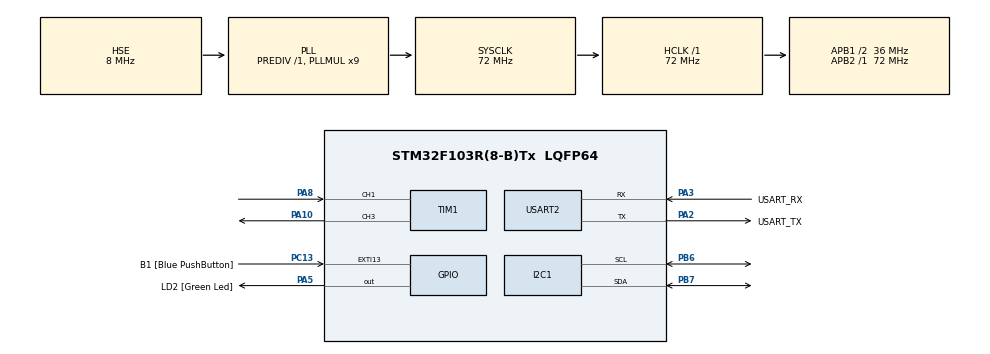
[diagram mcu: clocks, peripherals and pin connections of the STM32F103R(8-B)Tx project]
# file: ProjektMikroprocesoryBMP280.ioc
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Mcu.Family=STM32F1
Mcu.Name=STM32F103R(8-B)Tx
Mcu.Package=LQFP64
NVIC.EXTI15_10_IRQn=true\:0\:0\:false\:false\:true\:true\:true\:true
NVIC.PriorityGroup=NVIC_PRIORITYGROUP_4
NVIC.USART2_IRQn=true\:0\:0\:false\:false\:true\:true\:true\:true
PA10.Signal=S_TIM1_CH3
PA13.GPIO_Label=TMS
PA13.Mode=Serial_Wire
PA13.Signal=SYS_JTMS-SWDIO
PA14.GPIO_Label=TCK
PA14.Mode=Serial_Wire
PA14.Signal=SYS_JTCK-SWCLK
PA2.GPIO_Label=USART_TX
PA2.GPIO_Mode=GPIO_MODE_AF_PP
PA2.GPIO_PuPd=GPIO_NOPULL
PA2.GPIO_Speed=GPIO_SPEED_FREQ_LOW
PA2.Mode=Asynchronous
PA2.Signal=USART2_TX
PA3.GPIO_Label=USART_RX
PA3.GPIO_Mode=GPIO_MODE_AF_PP
PA3.GPIO_PuPd=GPIO_NOPULL
PA3.GPIO_Speed=GPIO_SPEED_FREQ_LOW
PA3.Mode=Asynchronous
PA3.Signal=USART2_RX
PA5.GPIO_Label=LD2 [Green Led]
PA5.GPIO_ModeDefaultOutputPP=GPIO_MODE_OUTPUT_PP
PA5.GPIO_PuPd=GPIO_NOPULL
PA5.GPIO_Speed=GPIO_SPEED_FREQ_LOW
PA5.Signal=GPIO_Output
PA8.Signal=S_TIM1_CH1
PB3.GPIO_Label=SWO
PB3.Signal=SYS_JTDO-TRACESWO
PB6.Mode=I2C
PB6.Signal=I2C1_SCL
PB7.Mode=I2C
PB7.Signal=I2C1_SDA
PC13-TAMPER-RTC.GPIO_Label=B1 [Blue PushButton]
PC13-TAMPER-RTC.GPIO_PuPd=GPIO_NOPULL
PC13-TAMPER-RTC.Signal=GPXTI13
PC14-OSC32_IN.Mode=LSE-External-Oscillator
PC14-OSC32_IN.Signal=RCC_OSC32_IN
PC15-OSC32_OUT.Mode=LSE-External-Oscillator
PC15-OSC32_OUT.Signal=RCC_OSC32_OUT
PD0-OSC_IN.Mode=HSE-External-Clock-Source
PD0-OSC_IN.Signal=RCC_OSC_IN
PD1-OSC_OUT.Mode=HSE-External-Clock-Source
PD1-OSC_OUT.Signal=RCC_OSC_OUT
ProjectManager.HeapSize=0x200
ProjectManager.StackSize=0x400
ProjectManager.TargetToolchain=STM32CubeIDE
RCC.AHBFreq_Value=72000000
RCC.APB1CLKDivider=RCC_HCLK_DIV2
RCC.APB1Freq_Value=36000000
RCC.APB1TimFreq_Value=72000000
RCC.APB2Freq_Value=72000000
RCC.APB2TimFreq_Value=72000000
RCC.HCLKFreq_Value=72000000
RCC.PLLMUL=RCC_PLL_MUL9
RCC.PLLSourceVirtual=RCC_PLLSOURCE_HSE
RCC.RTCClockSelection=RCC_RTCCLKSOURCE_LSE
RCC.SYSCLKFreq_VALUE=72000000
RCC.SYSCLKSource=RCC_SYSCLKSOURCE_PLLCLK
RCC.USBFreq_Value=72000000
SH.S_TIM1_CH1.0=TIM1_CH1,Input_Capture1_from_TI1
SH.S_TIM1_CH3.0=TIM1_CH3,PWM Generation3 CH3
TIM1.Channel-Input_Capture1_from_TI1=TIM_CHANNEL_1
TIM1.Channel-PWM\ Generation3\ CH3=TIM_CHANNEL_3
USART2.VirtualMode=VM_ASYNC
VP_TIM1_VS_ClockSourceINT.Mode=Internal
board=NUCLEO-F103RB

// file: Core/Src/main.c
/* USER CODE BEGIN Header */
/**
  ******************************************************************************
  * @file           : main.c
  * @brief          : Main program body
  ******************************************************************************
  * @attention
  *
  * Copyright (c) 2022 STMicroelectronics.
  * All rights reserved.
  *
  * This software is licensed under terms that can be found in the LICENSE file
  * in the root directory of this software component.
  * If no LICENSE file comes with this software, it is provided AS-IS.
  *
  ******************************************************************************
  */
/* USER CODE END Header */
#include "main.h"

/* USER CODE BEGIN Includes */
#include <string.h>
#include <stdio.h>
#include <stdarg.h>
#include <bme280.h>
/* USER CODE END Includes */

I2C_HandleTypeDef hi2c1;

TIM_HandleTypeDef htim1;

UART_HandleTypeDef huart2;

/* USER CODE BEGIN PV */

//zmienne do obsługi protokołu
#define USART_TXBUF_LEN 300
#define USART_RXBUF_LEN 300
#define bufor_len 1000
uint8_t USART_TxBUF[USART_TXBUF_LEN];
uint8_t USART_RxBUF[USART_RXBUF_LEN];

__IO int USART_TX_EMPTY=0; //wskaźnik dla bufora nadawczego
__IO int USART_TX_BUSY=0;
__IO int USART_RX_EMPTY=0; //wskaźnik dla bufora odbiorczego
__IO int USART_RX_BUSY=0;

extern float bufor[bufor_len]; //bufor czujnika*/
uint16_t buf_idx=0;

//do ramki
char nadawca[3];
char odbiorca[3];
char dlugosc_komendy[3];
char suma_kontrolna[2];
const char adres_stm[3] = "STM";
uint8_t dlugosc_ramki = 0;
int com_len;
int kontrolna_suma;
int znak_konca = 0;
int znak_poczatku = 0;

//do analizy ramki
int odczyt = 0;
int czas = 0;
int pom = 0;
int wilg = 0;

__IO uint32_t CNT;             /*!< TIM counter register,                        Address offset: 0x24 */

/* USER CODE END PV */

void SystemClock_Config(void);
static void MX_GPIO_Init(void);
static void MX_USART2_UART_Init(void);
static void MX_I2C1_Init(void);
static void MX_TIM1_Init(void);

/* USER CODE BEGIN 0 */

int8_t i2c_read(uint8_t dev_id, uint8_t reg_addr, uint8_t *reg_data, uint16_t len)
{
	int8_t rslt = 0; /* Return 0 for Success, non-zero for failure */
	//HAL_I2C_Mem_Read(hi2c, DevAddress, MemAddress, MemAddSize, pData, Size, Timeout) blokujace dla porownania
	HAL_I2C_Mem_Read(&hi2c1, dev_id, reg_addr, 1, reg_data, len, 100);
	//tu jest na blokujaco
	//HAL_I2C_Mem_Read_IT(hi2c, DevAddress, MemAddress, MemAddSize, pData, Size)
	// HAL_I2C_Mem_Read_IT(&hi2c1, dev_id, reg_addr, 1, reg_data, len); // przerwania
	return rslt;
}

int8_t i2c_write(uint8_t dev_id, uint8_t reg_addr, uint8_t *reg_data, uint16_t len)
{
	int8_t rslt = 0; /* Return 0 for Success, non-zero for failure */
	//HAL_I2C_Mem_Write_IT(&hi2c1, dev_id, reg_addr, 1, reg_data, len);
	//przerwania
	HAL_I2C_Mem_Write(&hi2c1, dev_id, reg_addr, 1, reg_data, len, 100);
	//blokujaco
	return rslt;
}

int8_t BME280_init(void)
{
	struct bme280_dev dev;
	int8_t rslt = BME280_OK;
	uint8_t dev_addr = BME280_I2C_ADDR_PRIM;
	int8_t init_done = BME280_E_DEV_NOT_FOUND;
	uint8_t settings_sel;

	dev.intf_ptr = &dev_addr;
	dev.intf = BME280_I2C_INTF;
	dev.read = i2c_read;
	dev.write = i2c_write;

	rslt = bme280_init(&dev);

	/* Recommended mode of operation: Indoor navigation */
	dev.settings.osr_h = BME280_OVERSAMPLING_1X;
	dev.settings.osr_p = BME280_OVERSAMPLING_16X;
	dev.settings.osr_t = BME280_OVERSAMPLING_2X;
	dev.settings.filter = BME280_FILTER_COEFF_16;
	dev.settings.standby_time = BME280_STANDBY_TIME_62_5_MS;

	if(rslt == BME280_OK)
	{
		settings_sel = BME280_OSR_PRESS_SEL;
		settings_sel = BME280_OSR_TEMP_SEL;
		settings_sel = BME280_OSR_HUM_SEL;
		settings_sel = BME280_STANDBY_SEL;
		settings_sel = BME280_FILTER_SEL;

		rslt = bme280_set_sensor_settings(settings_sel, &dev);

		if(rslt == BME280_OK)
		{
			rslt = bme280_set_sensor_mode(BME280_NORMAL_MODE, &dev);
			init_done = rslt;
		}
	}
	return rslt;
}

int8_t BME280_read_data(void)
{
	struct bme280_dev dev;
	struct bme280_data comp_data;
	int8_t init_done = BME280_E_DEV_NOT_FOUND;
	int8_t rslt = BME280_E_COMM_FAIL;
	if(init_done == BME280_OK)
	{
		USART_fsend(" Temperatura, Cisnienie, Wilgotnosc\r\n");
		/* Pobranie danych z czujnika i wyswietlenie */
		rslt = bme280_get_sensor_data(BME280_ALL, &comp_data, &dev);
		print_sensor_data("pom[",&comp_data,"]");
	}
	return rslt;
}

int8_t BME280_read_data2(void)
{
	struct bme280_dev dev;
	struct bme280_data comp_data;
	int8_t init_done = BME280_E_DEV_NOT_FOUND;
	int8_t rslt = BME280_E_COMM_FAIL;
	if(init_done == BME280_OK)
	{
		USART_fsend(" Temperatura , Cisnienie\r\n");
		/* Pobranie danych z czujnika i wyswietlenie */
		rslt = bme280_get_sensor_data(BME280_PRESS, &comp_data, &dev);
		print_sensor_data("pom[",&comp_data,"]");
	}
	return rslt;
}

int8_t BME280_read_data3(void)
{
	struct bme280_dev dev;
	struct bme280_data comp_data;
	int8_t init_done = BME280_E_DEV_NOT_FOUND;
	int8_t rslt = BME280_E_COMM_FAIL;
	if(init_done == BME280_OK)
	{
		USART_fsend(" Wilgotnosc\r\n");
		/* Pobranie danych z czujnika i wyswietlenie */
		rslt = bme280_get_sensor_data(BME280_HUM, &comp_data, &dev);
		print_sensor_data("pom[",&comp_data,"]");
	}
	return rslt;
}

void print_sensor_data(struct bme280_data *comp_data)
{
	if(CNT< 500)
	{
#ifdef BME280_FLOAT_ENABLE
		USART_fsend("%0.2f C, %0.2f HPa, %0.2f %%\r\n",comp_data->temperature, (comp_data->pressure / 100), comp_data->humidity);
		bufor[CNT] =comp_data->temperature;
		CNT++; //spr wartosci
		if(CNT < 500)
		{
			bufor[CNT] =(comp_data->pressure/100);
		}else
		{
			CNT = 0;
			USART_fsend("Przekroczono zakres counter'a (cisnienie) \r \n");
			bufor[CNT] = (comp_data->pressure/100);
		}
		CNT++;
		if(CNT < 500)
		{
			bufor[CNT] =comp_data->humidity;
		}else
		{
			CNT = 0;
			USART_fsend("Przekroczono zakres counter'a (wilgotnosc)\r \n");
			bufor[CNT] = (comp_data->humidity);
		}
		CNT++;
#else

		USART_fsend("%ld, %ld, %ld\r\n",comp_data->temperature, comp_data->pressure, comp_data->humidity);

#endif

	}else
	{
		USART_fsend("Przekroczono zakres counter'a (temperatura) \r \n" );
		CNT = 0;//zapętlanie jak przekroczy,dane nadpisuje
	}
}

uint8_t USART_kbhit()
{
	if(USART_RX_EMPTY==USART_RX_BUSY)
	{
		return 0;
	}else
	{
		return 1;
	}
}//USART_kbhit

int16_t USART_getchar()
{
	int16_t tmp;
	if(USART_RX_EMPTY!=USART_RX_BUSY)
	{
		tmp=USART_RxBUF[USART_RX_BUSY];
		USART_RX_BUSY++;
		if(USART_RX_BUSY >= USART_RXBUF_LEN)USART_RX_BUSY=0;
		return tmp;
	}else return 0;
}

uint8_t USART_getline(char *buf)
{
	static uint8_t bf[300]; //bufor pomocniczy
	int i;

	// Pobieranie danych, jeżeli znajdują się w buforze
	while(USART_kbhit())
	{
		bf[dlugosc_ramki]=USART_getchar();

		// Wyświetlanie znaków w putty
		USART_fsend("%c",bf[dlugosc_ramki]);
		int len_ramki=0;

		if(bf[dlugosc_ramki]==60)
		{
			// Pomijanie znaku w zapisie danych do tablicy
			//sprawdzenie czy odnaleziono znak "<"
			dlugosc_ramki=0;
			znak_poczatku=1;
		}
		if(bf[dlugosc_ramki]==62 && znak_poczatku==1)
		{
			//jesli podalismy wiecej znakow niz minimalna dlugosc ramki
			if(dlugosc_ramki >= 12)
			{	// Zwracanie pobranych znaków do tablicy użytej jako argument funkcji
				for(i=0;i<=dlugosc_ramki;i++)
				{
					buf[i]=bf[i];//zapis do bufora
				}
				len_ramki=dlugosc_ramki;
				dlugosc_ramki-0;
				znak_poczatku=0;
				return len_ramki;// Zwracanie ilości odebranych znaków
			}
			dlugosc_ramki = 0;
			znak_poczatku = 0;
		}else
		{
			dlugosc_ramki++;

			if(dlugosc_ramki>=269)
			{
				dlugosc_ramki=0;
				znak_poczatku=0;
			}
		}
	}
		return 0;
}//USART_getline

void USART_fsend(char* format,...)
{
	char tmp_rs[128];
	int i;
	__IO int idx;
	va_list arglist;
	va_start(arglist,format);
	vsprintf(tmp_rs,format,arglist);
	va_end(arglist);
	idx=USART_TX_EMPTY;

	for(i=0;i<strlen(tmp_rs);i++)
	{
		USART_TxBUF[idx]=tmp_rs[i];
		idx++;
		if(idx>=USART_TXBUF_LEN)idx=0;
	}
	__disable_irq(); //wyłączenie przerwań
	if((USART_TX_EMPTY==USART_TX_BUSY)&&(__HAL_UART_GET_FLAG(&huart2,UART_FLAG_TXE)==SET))
	{
		USART_TX_EMPTY=idx;
		uint8_t tmp=USART_TxBUF[USART_TX_BUSY];
		USART_TX_BUSY++;
		if(USART_TX_BUSY>=USART_TXBUF_LEN)USART_TX_BUSY=0;
		HAL_UART_Transmit_IT(&huart2,&tmp,1);
	}else
	{
		USART_TX_EMPTY=idx;
	}
	__enable_irq(); //włączenie przerwań
}
//nadawanie
void HAL_UART_TxCpltCallback(UART_HandleTypeDef *huart)
{
	if(huart==&huart2)
	{
		if(USART_TX_EMPTY!=USART_TX_BUSY)
		{
			uint8_t tmp=USART_TxBUF[USART_TX_BUSY];
			USART_TX_BUSY++;
			if(USART_TX_BUSY>=USART_TXBUF_LEN)USART_TX_BUSY=0;
			HAL_UART_Transmit_IT(&huart2,&tmp,1);
		}
	}
}

//odbiór
void HAL_UART_RxCpltCallback(UART_HandleTypeDef *huart)
{
	if(huart==&huart2)
	{
		USART_RX_EMPTY++;
		if(USART_RX_EMPTY>=USART_RXBUF_LEN)
			{
				USART_RX_EMPTY=0;
			}
		HAL_UART_Receive_IT(&huart2,&USART_RxBUF[USART_RX_EMPTY],1);
	}
}

void pobierz_dane(char *buf)
{
	memcpy(nadawca, &buf[1], 3);
    memcpy(odbiorca, &buf[4], 3);
    memcpy(dlugosc_komendy, &buf[7], 3);
    for (int i = 0; i < 3; i++)
    {
    	if (!isdigit(dlugosc_komendy[i]))
    	{
    		USART_fsend("\n lecom \r \n");
    		return;
    	}
    }
    com_len = atoi(dlugosc_komendy);
    memcpy(suma_kontrolna, &buf[dlugosc_ramki-2],2);
    for (int i = 0; i < 2; i++)
    {
    	if (!isdigit(suma_kontrolna[i]))
    	{
    		USART_fsend("\n wsum \r \n");
    		return;
    	}
    }
    kontrolna_suma=atoi(suma_kontrolna);
    sprawdz_dane(buf);
}

void sprawdz_dane(char *buffer)
{
	if (strncmp(adres_stm, odbiorca, 3) == 0)
	{
		if (com_len <= 256 && com_len > 0)
		{
			int poprawna_ramka = 12 + com_len;

			if (dlugosc_ramki <= poprawna_ramka)
			{
				USART_fsend("\n lecom \r\n");
				return;
			}
			char cmd[com_len + 1];
			memcpy(cmd, &buffer[10], com_len);//wpisuje ciag znakow o dlugosci komenda dlugosc zaczynajac od 10 miejsca w buforze
			analizuj(cmd);
		}else if (com_len == 0)
		{
			int poprawna_ramka = 12 + com_len;
			if (dlugosc_ramki != poprawna_ramka) {
			USART_fsend("ledata\r\n");
			return;
		}else
		{
			USART_fsend("\n miscom \r\n");
			return;
		}
	}else
	{
		USART_fsend("\n lecom \r\n");
	}
}else
{
	USART_fsend("\n wframe \r\n");
}
}

void analizuj(char *cmd)
{
	int sum = 0;

	for(int i=0; i<com_len;i++)
	{
		sum=sum+cmd[i];
	}

	sum=sum%100;

	if (kontrolna_suma=sum)
    	{
			//interwał pomiarowy
    		if (cmd[0]=='s' && cmd[1]=='t' && cmd[2]=='a' && cmd[3]=='r' && cmd[4]=='t' && cmd[5]=='i' && cmd[6]=='n' && cmd[7]=='t' && com_len ==14)
    		{
    			if(cmd[8]=='[' && cmd[13]==']')
    			{
    				char interwal[3];
    				memcpy(interwal,&cmd[9],4);

    				for (int i=0; i<4;i++)
    				{
    					if(!isdigit(interwal[i]))
    				    {
    				    	USART_fsend("\n wcom \r\n %c", interwal[i]);
    				    	return;
    				    }
    				}
    				czas=atoi(interwal);
    				odczyt = 1;
    			}
    			if(cmd[13]==']')
    			{
    				USART_fsend("\n %d \r\n");
    			}else
    			{
    				USART_fsend("\n wcom \r\n");
    			}
    		}else if (cmd[0] == 'a' && cmd[1] == 'r' && cmd[2] == 'c' && cmd[3] == 'h' && cmd[4] == 'o' && cmd[5] == 'd' && com_len == 15)
    		{
    			if(cmd[6]=='[' && cmd[14]==']')
    			{
    				odczyt = 0;
    				char od[2];
    				int dokad_sprawdzac = 0;
    				int odczego_sprawdzac = 0;
    				memcpy(od, &cmd[7], 4);

    				for (int i = 0; i < 3; i++)
    				{
    					if (!isdigit(od[i]))
    					{
    						USART_fsend("wcom \r \n %c",od[i]);
    						return;
    					}
    					odczego_sprawdzac = atoi(od);//USART_fsend(" od czego : %hd \r \n ",odczego_sprawdzac);
    				}
    				char dokad[2];
    				memcpy(dokad, &cmd[12], 4);

    				for (int i = 0; i < 3; i++)
    				{
    					if (!isdigit(dokad[i]))
    					{
    						USART_fsend("wcom \r \n %c",dokad[i]);
    						return;
    					}
    					dokad_sprawdzac = atoi(dokad);// USART_fsend(" dokad_sprawdzac : %hd \r \n ",dokad_sprawdzac);
    				}
    				for(int i=odczego_sprawdzac ; i<=dokad_sprawdzac;i++)
    				{
    					if(bufor[i] == 0)
    					{
    						USART_fsend("misrec %d \r \n",i);
    						//return;
    					}else
    					{
    						USART_fsend("%d. %0.2f \r \n",i,bufor[i]);
    					}
    				}
    			}else
        		{
        			USART_fsend("\n wcom \r\n");
        		}
    		}else if (cmd[0] == 's' && cmd[1] == 't' && cmd[2] == 'o' && cmd[3] == 'p' && com_len == 4)
    		{
    			// zatrzymanie czujnika(stopuje mierzenie temperatury,cisnienia i wilgotnosci)
    			odczyt = 0;
    			USART_fsend("Zatrzymano \r \n");
    		}else if (cmd[0] == 's' && cmd[1] == 't' && cmd[2] == 'a' && cmd[3] == 'r' && cmd[4] == 't' && com_len == 5)
    		{
    			//Wyswietlanie wszystkiego
    			odczyt = 1;
    			czas = 1000;
    		}else if (cmd[0] == 'o' && cmd[1] == 'f' && cmd[2] == 'f' && cmd[3] == 'p' && cmd[4] == 'o' && cmd[5] == 'm' && com_len == 6 )
    		{
    			//cisnienie i temperatura:
    			pom = 0;
    		}else if (cmd[0] == 'o' && cmd[1] == 'n' && cmd[2] == 'p' && cmd[3] == 'o' && cmd[4] == 'm' && com_len == 5 )
    		{
    			pom = 1;
    			czas = 1000;
    		}else if (cmd[0] == 'o' && cmd[1] == 'f' && cmd[2] == 'f' && cmd[3] == 'w' && cmd[4] == 'i' && cmd[5] == 'l' && cmd[6] == 'g' && com_len == 7 )
    		{
    			//wilgotnosc
    			wilg = 0;
    		}else if (cmd[0] == 'o' && cmd[1] == 'n' && cmd[2] == 'w' && cmd[3] == 'i' && cmd[4] == 'l' && cmd[5] == 'g' && com_len == 6)
    		{
    			wilg= 1;
    			czas = 1000;
    			//arch
    		}else if (cmd[0] == 'a' && cmd[1] == 'r' && cmd[2] == 'c' && cmd[3] == 'h' && com_len == 4)
    		{
    			odczyt = 0;
    			archiwalne();
    		}else
    		{
    			USART_fsend("\n wcom \r\n ");
    			return;
    		}
    	}else
    	{
    		USART_fsend("\n wsum \r\n");
    	}
}

void archiwalne ()
{
	//wyświetlanie danych archiwalnych przechowywanych przez czujnik
	int j = 0;
	USART_fsend("arch[\r\n");
	for( int i=0; i< bufor_len ; i=i+3 )
	{
		if(bufor[i]==0)
		{
			return;
		}else
		{
			USART_fsend("%d. %0.2f , %0.2f , %0.2f ]\r\n",j,bufor[i],bufor[i+1],bufor[i+2]);
			j++;
		}
	}
}

/* USER CODE END 0 */

int main(void)
{

  /* MCU Configuration--------------------------------------------------------*/

  /* Reset of all peripherals, Initializes the Flash interface and the Systick. */
  HAL_Init();

  /* Configure the system clock */
  SystemClock_Config();

  /* Initialize all configured peripherals */
  MX_GPIO_Init();
  MX_USART2_UART_Init();
  MX_I2C1_Init();
  MX_TIM1_Init();

  /* Infinite loop */
  /* USER CODE BEGIN WHILE */
  HAL_UART_Receive_IT(&huart2,&USART_RxBUF[0],1);
      //uint32_t xxx=0;
    int len=0;
    char bx[500];
  while (1)
  	  {

    /* USER CODE END WHILE */

    /* USER CODE BEGIN 3 */
	  	if ((len = USART_getline(bx)) > 0)
	  	{
	  		pobierz_dane(bx);
	  	}
	  	 if (__HAL_TIM_GET_COUNTER(&htim1) == (czas * 2))
	  	{
	  		if(odczyt == 1)
	  		{
	  			BME280_read_data();
	  			__HAL_TIM_SET_COUNTER(&htim1,0);
	  		}else if(wilg == 1)
	  		{
	  			BME280_read_data3();
	  			__HAL_TIM_SET_COUNTER(&htim1,0);
	  		}else if (pom == 1)
	  		{
	  			BME280_read_data2();
	  			__HAL_TIM_SET_COUNTER(&htim1,0);
	  		}
	  	}
  	  }
  /* USER CODE END 3 */
}

void SystemClock_Config(void)
{
  RCC_OscInitTypeDef RCC_OscInitStruct = {0};
  RCC_ClkInitTypeDef RCC_ClkInitStruct = {0};

  /** Initializes the RCC Oscillators according to the specified parameters
  * in the RCC_OscInitTypeDef structure.
  */
  RCC_OscInitStruct.OscillatorType = RCC_OSCILLATORTYPE_HSE;
  RCC_OscInitStruct.HSEState = RCC_HSE_BYPASS;
  RCC_OscInitStruct.HSEPredivValue = RCC_HSE_PREDIV_DIV1;
  RCC_OscInitStruct.HSIState = RCC_HSI_ON;
  RCC_OscInitStruct.PLL.PLLState = RCC_PLL_ON;
  RCC_OscInitStruct.PLL.PLLSource = RCC_PLLSOURCE_HSE;
  RCC_OscInitStruct.PLL.PLLMUL = RCC_PLL_MUL9;
  if (HAL_RCC_OscConfig(&RCC_OscInitStruct) != HAL_OK)
  {
    Error_Handler();
  }

  /** Initializes the CPU, AHB and APB buses clocks
  */
  RCC_ClkInitStruct.ClockType = RCC_CLOCKTYPE_HCLK|RCC_CLOCKTYPE_SYSCLK
                              |RCC_CLOCKTYPE_PCLK1|RCC_CLOCKTYPE_PCLK2;
  RCC_ClkInitStruct.SYSCLKSource = RCC_SYSCLKSOURCE_PLLCLK;
  RCC_ClkInitStruct.AHBCLKDivider = RCC_SYSCLK_DIV1;
  RCC_ClkInitStruct.APB1CLKDivider = RCC_HCLK_DIV2;
  RCC_ClkInitStruct.APB2CLKDivider = RCC_HCLK_DIV1;

  if (HAL_RCC_ClockConfig(&RCC_ClkInitStruct, FLASH_LATENCY_2) != HAL_OK)
  {
    Error_Handler();
  }
}

static void MX_I2C1_Init(void)
{

  hi2c1.Instance = I2C1;
  hi2c1.Init.ClockSpeed = 100000;
  hi2c1.Init.DutyCycle = I2C_DUTYCYCLE_2;
  hi2c1.Init.OwnAddress1 = 0;
  hi2c1.Init.AddressingMode = I2C_ADDRESSINGMODE_7BIT;
  hi2c1.Init.DualAddressMode = I2C_DUALADDRESS_DISABLE;
  hi2c1.Init.OwnAddress2 = 0;
  hi2c1.Init.GeneralCallMode = I2C_GENERALCALL_DISABLE;
  hi2c1.Init.NoStretchMode = I2C_NOSTRETCH_DISABLE;
  if (HAL_I2C_Init(&hi2c1) != HAL_OK)
  {
    Error_Handler();
  }

}

static void MX_TIM1_Init(void)
{

  TIM_ClockConfigTypeDef sClockSourceConfig = {0};
  TIM_MasterConfigTypeDef sMasterConfig = {0};
  TIM_IC_InitTypeDef sConfigIC = {0};
  TIM_OC_InitTypeDef sConfigOC = {0};
  TIM_BreakDeadTimeConfigTypeDef sBreakDeadTimeConfig = {0};

  htim1.Instance = TIM1;
  htim1.Init.Prescaler = 0;
  htim1.Init.CounterMode = TIM_COUNTERMODE_UP;
  htim1.Init.Period = 65535;
  htim1.Init.ClockDivision = TIM_CLOCKDIVISION_DIV1;
  htim1.Init.RepetitionCounter = 0;
  htim1.Init.AutoReloadPreload = TIM_AUTORELOAD_PRELOAD_DISABLE;
  if (HAL_TIM_Base_Init(&htim1) != HAL_OK)
  {
    Error_Handler();
  }
  sClockSourceConfig.ClockSource = TIM_CLOCKSOURCE_INTERNAL;
  if (HAL_TIM_ConfigClockSource(&htim1, &sClockSourceConfig) != HAL_OK)
  {
    Error_Handler();
  }
  if (HAL_TIM_IC_Init(&htim1) != HAL_OK)
  {
    Error_Handler();
  }
  if (HAL_TIM_PWM_Init(&htim1) != HAL_OK)
  {
    Error_Handler();
  }
  sMasterConfig.MasterOutputTrigger = TIM_TRGO_RESET;
  sMasterConfig.MasterSlaveMode = TIM_MASTERSLAVEMODE_DISABLE;
  if (HAL_TIMEx_MasterConfigSynchronization(&htim1, &sMasterConfig) != HAL_OK)
  {
    Error_Handler();
  }
  sConfigIC.ICPolarity = TIM_INPUTCHANNELPOLARITY_RISING;
  sConfigIC.ICSelection = TIM_ICSELECTION_DIRECTTI;
  sConfigIC.ICPrescaler = TIM_ICPSC_DIV1;
  sConfigIC.ICFilter = 0;
  if (HAL_TIM_IC_ConfigChannel(&htim1, &sConfigIC, TIM_CHANNEL_1) != HAL_OK)
  {
    Error_Handler();
  }
  sConfigOC.OCMode = TIM_OCMODE_PWM1;
  sConfigOC.Pulse = 0;
  sConfigOC.OCPolarity = TIM_OCPOLARITY_HIGH;
  sConfigOC.OCNPolarity = TIM_OCNPOLARITY_HIGH;
  sConfigOC.OCFastMode = TIM_OCFAST_DISABLE;
  sConfigOC.OCIdleState = TIM_OCIDLESTATE_RESET;
  sConfigOC.OCNIdleState = TIM_OCNIDLESTATE_RESET;
  if (HAL_TIM_PWM_ConfigChannel(&htim1, &sConfigOC, TIM_CHANNEL_3) != HAL_OK)
  {
    Error_Handler();
  }
  sBreakDeadTimeConfig.OffStateRunMode = TIM_OSSR_DISABLE;
  sBreakDeadTimeConfig.OffStateIDLEMode = TIM_OSSI_DISABLE;
  sBreakDeadTimeConfig.LockLevel = TIM_LOCKLEVEL_OFF;
  sBreakDeadTimeConfig.DeadTime = 0;
  sBreakDeadTimeConfig.BreakState = TIM_BREAK_DISABLE;
  sBreakDeadTimeConfig.BreakPolarity = TIM_BREAKPOLARITY_HIGH;
  sBreakDeadTimeConfig.AutomaticOutput = TIM_AUTOMATICOUTPUT_DISABLE;
  if (HAL_TIMEx_ConfigBreakDeadTime(&htim1, &sBreakDeadTimeConfig) != HAL_OK)
  {
    Error_Handler();
  }
  HAL_TIM_MspPostInit(&htim1);

}

static void MX_USART2_UART_Init(void)
{

  huart2.Instance = USART2;
  huart2.Init.BaudRate = 115200;
  huart2.Init.WordLength = UART_WORDLENGTH_8B;
  huart2.Init.StopBits = UART_STOPBITS_1;
  huart2.Init.Parity = UART_PARITY_NONE;
  huart2.Init.Mode = UART_MODE_TX_RX;
  huart2.Init.HwFlowCtl = UART_HWCONTROL_NONE;
  huart2.Init.OverSampling = UART_OVERSAMPLING_16;
  if (HAL_UART_Init(&huart2) != HAL_OK)
  {
    Error_Handler();
  }

}

static void MX_GPIO_Init(void)
{
  GPIO_InitTypeDef GPIO_InitStruct = {0};

  /* GPIO Ports Clock Enable */
  __HAL_RCC_GPIOC_CLK_ENABLE();
  __HAL_RCC_GPIOD_CLK_ENABLE();
  __HAL_RCC_GPIOA_CLK_ENABLE();
  __HAL_RCC_GPIOB_CLK_ENABLE();

  /*Configure GPIO pin Output Level */
  HAL_GPIO_WritePin(LD2_GPIO_Port, LD2_Pin, GPIO_PIN_RESET);

  /*Configure GPIO pin : B1_Pin */
  GPIO_InitStruct.Pin = B1_Pin;
  GPIO_InitStruct.Mode = GPIO_MODE_IT_RISING;
  GPIO_InitStruct.Pull = GPIO_NOPULL;
  HAL_GPIO_Init(B1_GPIO_Port, &GPIO_InitStruct);

  /*Configure GPIO pin : LD2_Pin */
  GPIO_InitStruct.Pin = LD2_Pin;
  GPIO_InitStruct.Mode = GPIO_MODE_OUTPUT_PP;
  GPIO_InitStruct.Pull = GPIO_NOPULL;
  GPIO_InitStruct.Speed = GPIO_SPEED_FREQ_LOW;
  HAL_GPIO_Init(LD2_GPIO_Port, &GPIO_InitStruct);

  /* EXTI interrupt init*/
  HAL_NVIC_SetPriority(EXTI15_10_IRQn, 0, 0);
  HAL_NVIC_EnableIRQ(EXTI15_10_IRQn);

}

void Error_Handler(void)
{
  __disable_irq();
  while (1)
  {
  }
}
